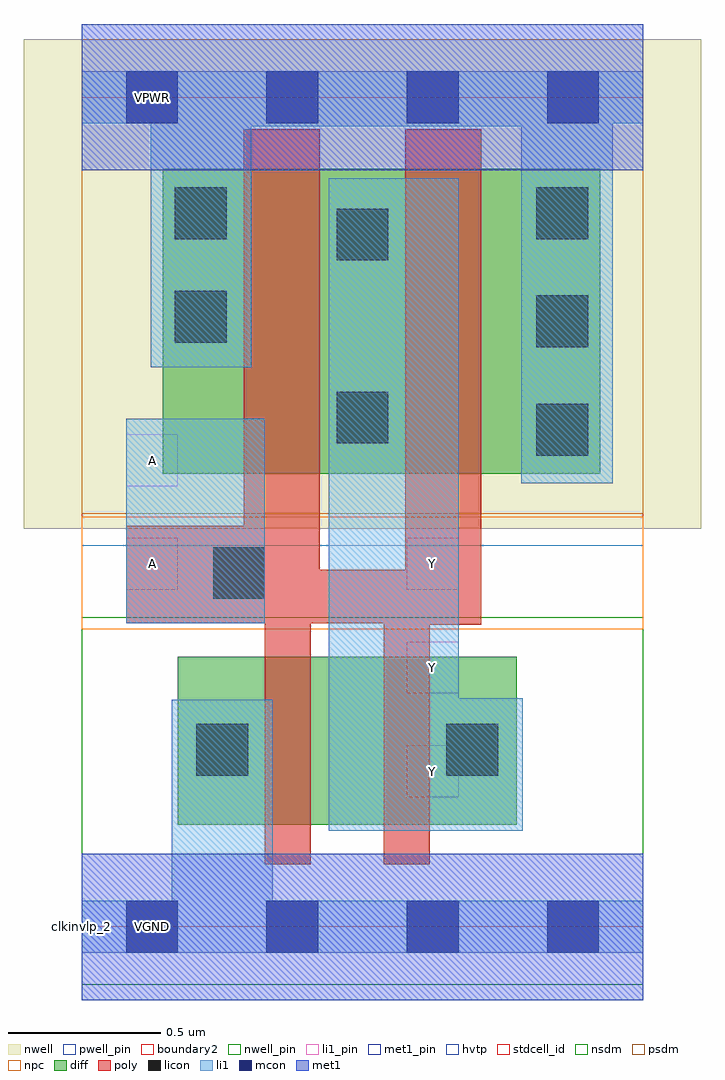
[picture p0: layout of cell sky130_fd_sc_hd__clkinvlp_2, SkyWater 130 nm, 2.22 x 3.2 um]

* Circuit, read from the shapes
.subckt sky130_fd_sc_hd__clkinvlp_2 A VGND VNB VPB VPWR Y
XM1 n1 A VGND VNB sky130_fd_pr__nfet_01v8 w=0.55 l=0.15
XM2 Y A n1 VNB sky130_fd_pr__nfet_01v8 w=0.55 l=0.15
XM3 Y A VPWR VPB sky130_fd_pr__pfet_01v8_hvt w=1 l=0.25 m=2
.ends

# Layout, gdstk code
import gdstk
lib = gdstk.Library(unit=1e-6, precision=1e-09)
def R(c, l, rs):  # rectangles x0, y0, x1, y1
    for r in rs: c.add(gdstk.rectangle(r[:2], r[2:], *l))
def A(c, l, x, y, w, h, nx, ny, dx, dy):  # array of equal rectangles
    R(c, l, [(x+i*dx, y+j*dy, x+i*dx+w, y+j*dy+h) for i in range(nx) for j in range(ny)])
def P(c, l, *ps):  # polygons
    for p in ps: c.add(gdstk.Polygon(p, *l))
nwell_pin = (64, 16)
nwell = (64, 20)
diff = (65, 20)
poly = (66, 20)
licon = (66, 44)
li1_pin = (67, 16)
li1 = (67, 20)
mcon = (67, 44)
met1_pin = (68, 16)
met1 = (68, 20)
hvtp = (78, 44)
stdcell_id = (81, 4)
nsdm = (93, 44)
psdm = (94, 20)
npc = (95, 20)
pwell_pin = (122, 16)
boundary2 = (236, 0)

sky130_fd_sc_hd__clkinvl = lib.new_cell('sky130_fd_sc_hd__clkinvlp_2')
R(sky130_fd_sc_hd__clkinvl, nwell_pin, [(0.145,2.635,0.315,2.805)])
R(sky130_fd_sc_hd__clkinvl, nwell, [(-0.19,1.305,2.03,2.91)])
R(sky130_fd_sc_hd__clkinvl, diff, [(0.315,0.335,1.425,0.885), (0.265,1.485,1.7,2.485)])
P(sky130_fd_sc_hd__clkinvl, poly, [(1.31,2.615),(1.06,2.615),(1.06,1.17),(0.78,1.17),(0.78,2.615),(0.53,2.615),(0.53,1.315),(0.145,1.315),(0.145,0.995),(0.6,0.995),(0.6,0.205),(0.75,0.205),(0.75,0.995),(0.99,0.995),(0.99,0.205),(1.14,0.205),(1.14,0.99),(1.31,0.99)])
A(sky130_fd_sc_hd__clkinvl, licon, 1.49, 1.545, 0.17, 0.17, 1, 3, 0, 0.355)
R(sky130_fd_sc_hd__clkinvl, licon, [(0.375,0.495,0.545,0.665), (1.195,0.495,1.365,0.665), (0.43,1.075,0.6,1.245), (0.835,1.585,1.005,1.755), (0.305,1.915,0.475,2.085), (0.835,2.185,1.005,2.355), (0.305,2.255,0.475,2.425)])
A(sky130_fd_sc_hd__clkinvl, li1_pin, 1.065, 0.425, 0.17, 0.17, 1, 3, 0, 0.34)
R(sky130_fd_sc_hd__clkinvl, li1_pin, [(0.145,1.105,0.315,1.275), (0.145,1.445,0.315,1.615)])
R(sky130_fd_sc_hd__clkinvl, li1, [(0.145,0.995,0.6,1.665)])
P(sky130_fd_sc_hd__clkinvl, li1, [(1.84,0.085),(0.625,0.085),(0.625,0.745),(0.295,0.745),(0.295,0.085),(0,0.085),(0,-0.085),(1.84,-0.085)],
  [(1.84,2.805),(0,2.805),(0,2.635),(0.225,2.635),(0.225,1.835),(0.555,1.835),(0.555,2.625),(1.44,2.625),(1.44,1.455),(1.74,1.455),(1.74,2.635),(1.84,2.635)],
  [(1.445,0.75),(1.235,0.75),(1.235,2.455),(0.81,2.455),(0.81,0.315),(1.445,0.315)])
A(sky130_fd_sc_hd__clkinvl, mcon, 0.145, -0.085, 0.17, 0.17, 4, 2, 0.46, 2.72)
R(sky130_fd_sc_hd__clkinvl, met1_pin, [(0.145,-0.085,0.315,0.085), (0.145,2.635,0.315,2.805)])
R(sky130_fd_sc_hd__clkinvl, hvtp, [(0,1.25,1.84,2.72)])
R(sky130_fd_sc_hd__clkinvl, stdcell_id, [(0,0,1.84,2.72)])
R(sky130_fd_sc_hd__clkinvl, nsdm, [(0,-0.19,1.84,1.015)])
R(sky130_fd_sc_hd__clkinvl, psdm, [(0,1.355,1.84,2.91)])
R(sky130_fd_sc_hd__clkinvl, npc, [(0,0.975,1.84,1.345)])
R(sky130_fd_sc_hd__clkinvl, pwell_pin, [(0.145,-0.085,0.315,0.085)])
R(sky130_fd_sc_hd__clkinvl, boundary2, [(0,0,1.84,2.72)])
sky130_fd_sc_hd__clkinvl.add(gdstk.FlexPath([(0,2.72),(1.84,2.72)], 0.48, ends="flush", simple_path=True, layer=68, datatype=20))  # met1
sky130_fd_sc_hd__clkinvl.add(gdstk.FlexPath([(0,0),(1.84,0)], 0.48, ends="flush", simple_path=True, layer=68, datatype=20))  # met1
sky130_fd_sc_hd__clkinvl.add(gdstk.Label('VGND', (0.23,0), layer=68, texttype=5))
sky130_fd_sc_hd__clkinvl.add(gdstk.Label('VPWR', (0.23,2.72), layer=68, texttype=5))
sky130_fd_sc_hd__clkinvl.add(gdstk.Label('Y', (1.15,0.85), layer=67, texttype=5))
sky130_fd_sc_hd__clkinvl.add(gdstk.Label('Y', (1.15,1.19), layer=67, texttype=5))
sky130_fd_sc_hd__clkinvl.add(gdstk.Label('A', (0.23,1.53), layer=67, texttype=5))
sky130_fd_sc_hd__clkinvl.add(gdstk.Label('Y', (1.15,0.51), layer=67, texttype=5))
sky130_fd_sc_hd__clkinvl.add(gdstk.Label('A', (0.23,1.19), layer=67, texttype=5))
sky130_fd_sc_hd__clkinvl.add(gdstk.Label('VPB', (0.23,2.72), layer=64, texttype=5))
sky130_fd_sc_hd__clkinvl.add(gdstk.Label('VNB', (0.23,0), layer=64, texttype=59))
sky130_fd_sc_hd__clkinvl.add(gdstk.Label('clkinvlp_2', (0,0), layer=83, texttype=44))

lib.write_gds('sky130_fd_sc_hd__clkinvlp_2.gds')
